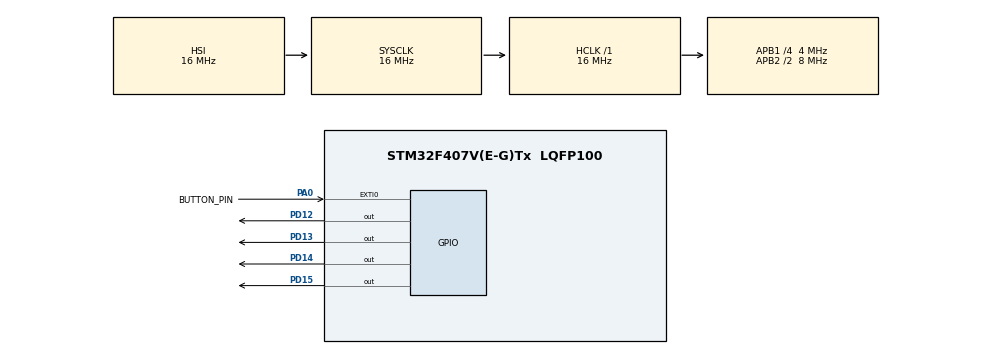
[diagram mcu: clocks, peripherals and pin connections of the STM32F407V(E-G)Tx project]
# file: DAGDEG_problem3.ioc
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Mcu.Family=STM32F4
Mcu.Name=STM32F407V(E-G)Tx
Mcu.Package=LQFP100
NVIC.EXTI0_IRQn=true\:0\:0\:false\:false\:true\:true\:true\:true
NVIC.PriorityGroup=NVIC_PRIORITYGROUP_0
PA0-WKUP.GPIO_Label=BUTTON_PIN
PA0-WKUP.Signal=GPXTI0
PD12.Signal=GPIO_Output
PD13.Signal=GPIO_Output
PD14.Signal=GPIO_Output
PD15.Signal=GPIO_Output
ProjectManager.HeapSize=0x200
ProjectManager.StackSize=0x400
ProjectManager.TargetToolchain=STM32CubeIDE
RCC.48MHZClocksFreq_Value=96000000
RCC.AHBFreq_Value=16000000
RCC.APB1CLKDivider=RCC_HCLK_DIV4
RCC.APB1Freq_Value=4000000
RCC.APB1TimFreq_Value=8000000
RCC.APB2CLKDivider=RCC_HCLK_DIV2
RCC.APB2Freq_Value=8000000
RCC.APB2TimFreq_Value=16000000
RCC.CortexFreq_Value=16000000
RCC.HCLKFreq_Value=16000000
RCC.HSE_VALUE=8000000
RCC.HSI_VALUE=16000000
RCC.PLLM=8
RCC.PLLN=336
RCC.PLLQ=7
RCC.PWREXT_OverDrive=PWREXT_OverDrive_DESACTIVATED
RCC.SYSCLKFreq_VALUE=16000000
RCC.VCOOutputFreq_Value=672000000
board=STM32F407G-DISC1

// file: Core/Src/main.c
/* USER CODE BEGIN Header */
/**
  ******************************************************************************
  * @file           : main.c
  * @brief          : Main program body
  ******************************************************************************
  * @attention
  *
  * Copyright (c) 2025 STMicroelectronics.
  * All rights reserved.
  *
  * This software is licensed under terms that can be found in the LICENSE file
  * in the root directory of this software component.
  * If no LICENSE file comes with this software, it is provided AS-IS.
  *
  ******************************************************************************
  */
/* USER CODE END Header */
#include "main.h"

/* USER CODE BEGIN PM */
#define SIZE GPIO_PIN_15
/* USER CODE END PM */

/* USER CODE BEGIN PV */
volatile uint8_t clickCount = 0;
volatile uint8_t led_state = 0;
volatile uint8_t seq_index = 0;
volatile uint32_t lastClickTime = 0;

/* USER CODE END PV */

void SystemClock_Config(void);
static void MX_GPIO_Init(void);

/* USER CODE BEGIN 0 */
void HAL_GPIO_EXTI_Callback(uint16_t GPIO_Pin) {
    if (GPIO_Pin == BUTTON_PIN_Pin) {
    	seq_index++;
        clickCount++;
        lastClickTime = HAL_GetTick();

        if (clickCount >= 3 && (HAL_GetTick() - lastClickTime) < 1000) {
        	HAL_GPIO_WritePin(GPIOD, GPIO_PIN_15, GPIO_PIN_RESET);
        	HAL_GPIO_WritePin(GPIOD, GPIO_PIN_13, GPIO_PIN_RESET);
        	HAL_GPIO_WritePin(GPIOD, GPIO_PIN_12, GPIO_PIN_RESET);
            HAL_GPIO_WritePin(GPIOD, GPIO_PIN_14, GPIO_PIN_SET);
            HAL_Delay(3000);
            HAL_GPIO_WritePin(GPIOD, GPIO_PIN_14, GPIO_PIN_RESET);
            clickCount=0;
        }
        else if ((HAL_GetTick() - lastClickTime) > 1000){
        	lastClickTime= HAL_GetTick();
        	clickCount=0;
        }

    }
}
/* USER CODE END 0 */

int main(void)
{

  /* MCU Configuration--------------------------------------------------------*/

  /* Reset of all peripherals, Initializes the Flash interface and the Systick. */
  HAL_Init();

  /* Configure the system clock */
  SystemClock_Config();

  /* Initialize all configured peripherals */
  MX_GPIO_Init();

  /* Infinite loop */
  /* USER CODE BEGIN WHILE */
  while (1)
  {
	  if ((seq_index % SIZE)==0){
	  			  HAL_GPIO_WritePin(GPIOD, GPIO_PIN_15, GPIO_PIN_RESET);
	  			  HAL_GPIO_WritePin(GPIOD, GPIO_PIN_12, GPIO_PIN_SET);

	  	  }
	  	  if ((seq_index % SIZE)==1){
	  		  	  HAL_GPIO_WritePin(GPIOD, GPIO_PIN_12, GPIO_PIN_RESET);
	  	  		  HAL_GPIO_WritePin(GPIOD, GPIO_PIN_13, GPIO_PIN_SET);

	  	  	  }
	  	  if ((seq_index % SIZE)==2){
	  		  	  HAL_GPIO_WritePin(GPIOD, GPIO_PIN_13, GPIO_PIN_RESET);
	  	  		  HAL_GPIO_WritePin(GPIOD, GPIO_PIN_14, GPIO_PIN_SET);

	  	  	  }
	  	  if ((seq_index % SIZE)==3){
	  	  		  HAL_GPIO_WritePin(GPIOD, GPIO_PIN_14, GPIO_PIN_RESET);
	  	  		  HAL_GPIO_WritePin(GPIOD, GPIO_PIN_15, GPIO_PIN_SET);
	  	  	  }
    /* USER CODE END WHILE */

  }
}

void SystemClock_Config(void)
{
  RCC_OscInitTypeDef RCC_OscInitStruct = {0};
  RCC_ClkInitTypeDef RCC_ClkInitStruct = {0};

  /** Configure the main internal regulator output voltage
  */
  __HAL_RCC_PWR_CLK_ENABLE();
  __HAL_PWR_VOLTAGESCALING_CONFIG(PWR_REGULATOR_VOLTAGE_SCALE1);

  /** Initializes the RCC Oscillators according to the specified parameters
  * in the RCC_OscInitTypeDef structure.
  */
  RCC_OscInitStruct.OscillatorType = RCC_OSCILLATORTYPE_HSI;
  RCC_OscInitStruct.HSIState = RCC_HSI_ON;
  RCC_OscInitStruct.HSICalibrationValue = RCC_HSICALIBRATION_DEFAULT;
  RCC_OscInitStruct.PLL.PLLState = RCC_PLL_NONE;
  if (HAL_RCC_OscConfig(&RCC_OscInitStruct) != HAL_OK)
  {
    Error_Handler();
  }

  /** Initializes the CPU, AHB and APB buses clocks
  */
  RCC_ClkInitStruct.ClockType = RCC_CLOCKTYPE_HCLK|RCC_CLOCKTYPE_SYSCLK
                              |RCC_CLOCKTYPE_PCLK1|RCC_CLOCKTYPE_PCLK2;
  RCC_ClkInitStruct.SYSCLKSource = RCC_SYSCLKSOURCE_HSI;
  RCC_ClkInitStruct.AHBCLKDivider = RCC_SYSCLK_DIV1;
  RCC_ClkInitStruct.APB1CLKDivider = RCC_HCLK_DIV4;
  RCC_ClkInitStruct.APB2CLKDivider = RCC_HCLK_DIV2;

  if (HAL_RCC_ClockConfig(&RCC_ClkInitStruct, FLASH_LATENCY_0) != HAL_OK)
  {
    Error_Handler();
  }
}

static void MX_GPIO_Init(void)
{
  GPIO_InitTypeDef GPIO_InitStruct = {0};

  /* GPIO Ports Clock Enable */
  __HAL_RCC_GPIOA_CLK_ENABLE();
  __HAL_RCC_GPIOD_CLK_ENABLE();

  /*Configure GPIO pin Output Level */
  HAL_GPIO_WritePin(GPIOD, GPIO_PIN_12|GPIO_PIN_13|GPIO_PIN_14|GPIO_PIN_15, GPIO_PIN_RESET);

  /*Configure GPIO pin : BUTTON_PIN_Pin */
  GPIO_InitStruct.Pin = BUTTON_PIN_Pin;
  GPIO_InitStruct.Mode = GPIO_MODE_IT_RISING;
  GPIO_InitStruct.Pull = GPIO_NOPULL;
  HAL_GPIO_Init(BUTTON_PIN_GPIO_Port, &GPIO_InitStruct);

  /*Configure GPIO pins : PD12 PD13 PD14 PD15 */
  GPIO_InitStruct.Pin = GPIO_PIN_12|GPIO_PIN_13|GPIO_PIN_14|GPIO_PIN_15;
  GPIO_InitStruct.Mode = GPIO_MODE_OUTPUT_PP;
  GPIO_InitStruct.Pull = GPIO_NOPULL;
  GPIO_InitStruct.Speed = GPIO_SPEED_FREQ_LOW;
  HAL_GPIO_Init(GPIOD, &GPIO_InitStruct);

  /* EXTI interrupt init*/
  HAL_NVIC_SetPriority(EXTI0_IRQn, 0, 0);
  HAL_NVIC_EnableIRQ(EXTI0_IRQn);

}

void Error_Handler(void)
{
  __disable_irq();
  while (1)
  {
  }
}
